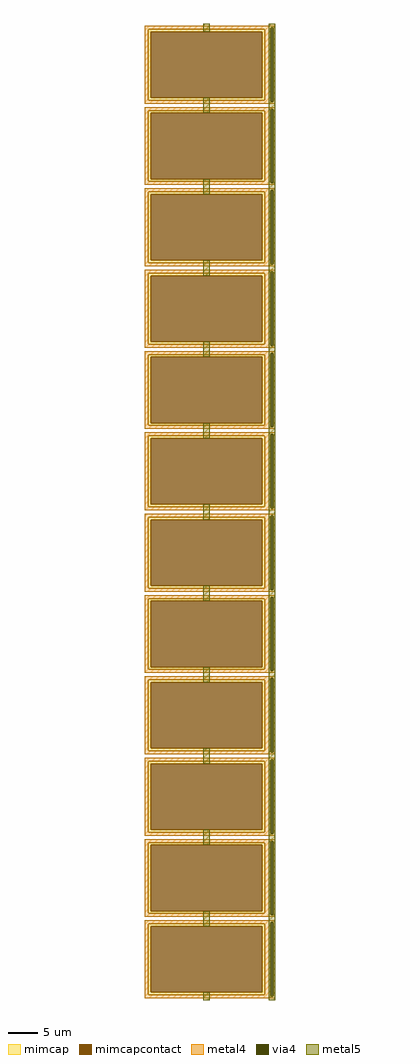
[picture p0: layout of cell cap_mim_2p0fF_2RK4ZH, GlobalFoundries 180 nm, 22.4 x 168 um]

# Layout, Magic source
magic
tech gf180mcuD
magscale 1 10
<< mimcap >>
rect -2120 16540 1880 16620
rect -2120 14260 -2040 16540
rect 1800 14260 1880 16540
rect -2120 14180 1880 14260
rect -2120 13740 1880 13820
rect -2120 11460 -2040 13740
rect 1800 11460 1880 13740
rect -2120 11380 1880 11460
rect -2120 10940 1880 11020
rect -2120 8660 -2040 10940
rect 1800 8660 1880 10940
rect -2120 8580 1880 8660
rect -2120 8140 1880 8220
rect -2120 5860 -2040 8140
rect 1800 5860 1880 8140
rect -2120 5780 1880 5860
rect -2120 5340 1880 5420
rect -2120 3060 -2040 5340
rect 1800 3060 1880 5340
rect -2120 2980 1880 3060
rect -2120 2540 1880 2620
rect -2120 260 -2040 2540
rect 1800 260 1880 2540
rect -2120 180 1880 260
rect -2120 -260 1880 -180
rect -2120 -2540 -2040 -260
rect 1800 -2540 1880 -260
rect -2120 -2620 1880 -2540
rect -2120 -3060 1880 -2980
rect -2120 -5340 -2040 -3060
rect 1800 -5340 1880 -3060
rect -2120 -5420 1880 -5340
rect -2120 -5860 1880 -5780
rect -2120 -8140 -2040 -5860
rect 1800 -8140 1880 -5860
rect -2120 -8220 1880 -8140
rect -2120 -8660 1880 -8580
rect -2120 -10940 -2040 -8660
rect 1800 -10940 1880 -8660
rect -2120 -11020 1880 -10940
rect -2120 -11460 1880 -11380
rect -2120 -13740 -2040 -11460
rect 1800 -13740 1880 -11460
rect -2120 -13820 1880 -13740
rect -2120 -14260 1880 -14180
rect -2120 -16540 -2040 -14260
rect 1800 -16540 1880 -14260
rect -2120 -16620 1880 -16540
<< mimcapcontact >>
rect -2040 14260 1800 16540
rect -2040 11460 1800 13740
rect -2040 8660 1800 10940
rect -2040 5860 1800 8140
rect -2040 3060 1800 5340
rect -2040 260 1800 2540
rect -2040 -2540 1800 -260
rect -2040 -5340 1800 -3060
rect -2040 -8140 1800 -5860
rect -2040 -10940 1800 -8660
rect -2040 -13740 1800 -11460
rect -2040 -16540 1800 -14260
<< metal4 >>
rect -2240 16673 2240 16740
rect -2240 16620 2090 16673
rect -2240 14180 -2120 16620
rect 1880 14180 2090 16620
rect -2240 14127 2090 14180
rect 2178 14127 2240 16673
rect -2240 14060 2240 14127
rect -2240 13873 2240 13940
rect -2240 13820 2090 13873
rect -2240 11380 -2120 13820
rect 1880 11380 2090 13820
rect -2240 11327 2090 11380
rect 2178 11327 2240 13873
rect -2240 11260 2240 11327
rect -2240 11073 2240 11140
rect -2240 11020 2090 11073
rect -2240 8580 -2120 11020
rect 1880 8580 2090 11020
rect -2240 8527 2090 8580
rect 2178 8527 2240 11073
rect -2240 8460 2240 8527
rect -2240 8273 2240 8340
rect -2240 8220 2090 8273
rect -2240 5780 -2120 8220
rect 1880 5780 2090 8220
rect -2240 5727 2090 5780
rect 2178 5727 2240 8273
rect -2240 5660 2240 5727
rect -2240 5473 2240 5540
rect -2240 5420 2090 5473
rect -2240 2980 -2120 5420
rect 1880 2980 2090 5420
rect -2240 2927 2090 2980
rect 2178 2927 2240 5473
rect -2240 2860 2240 2927
rect -2240 2673 2240 2740
rect -2240 2620 2090 2673
rect -2240 180 -2120 2620
rect 1880 180 2090 2620
rect -2240 127 2090 180
rect 2178 127 2240 2673
rect -2240 60 2240 127
rect -2240 -127 2240 -60
rect -2240 -180 2090 -127
rect -2240 -2620 -2120 -180
rect 1880 -2620 2090 -180
rect -2240 -2673 2090 -2620
rect 2178 -2673 2240 -127
rect -2240 -2740 2240 -2673
rect -2240 -2927 2240 -2860
rect -2240 -2980 2090 -2927
rect -2240 -5420 -2120 -2980
rect 1880 -5420 2090 -2980
rect -2240 -5473 2090 -5420
rect 2178 -5473 2240 -2927
rect -2240 -5540 2240 -5473
rect -2240 -5727 2240 -5660
rect -2240 -5780 2090 -5727
rect -2240 -8220 -2120 -5780
rect 1880 -8220 2090 -5780
rect -2240 -8273 2090 -8220
rect 2178 -8273 2240 -5727
rect -2240 -8340 2240 -8273
rect -2240 -8527 2240 -8460
rect -2240 -8580 2090 -8527
rect -2240 -11020 -2120 -8580
rect 1880 -11020 2090 -8580
rect -2240 -11073 2090 -11020
rect 2178 -11073 2240 -8527
rect -2240 -11140 2240 -11073
rect -2240 -11327 2240 -11260
rect -2240 -11380 2090 -11327
rect -2240 -13820 -2120 -11380
rect 1880 -13820 2090 -11380
rect -2240 -13873 2090 -13820
rect 2178 -13873 2240 -11327
rect -2240 -13940 2240 -13873
rect -2240 -14127 2240 -14060
rect -2240 -14180 2090 -14127
rect -2240 -16620 -2120 -14180
rect 1880 -16620 2090 -14180
rect -2240 -16673 2090 -16620
rect 2178 -16673 2240 -14127
rect -2240 -16740 2240 -16673
<< via4 >>
rect 2090 14127 2178 16673
rect 2090 11327 2178 13873
rect 2090 8527 2178 11073
rect 2090 5727 2178 8273
rect 2090 2927 2178 5473
rect 2090 127 2178 2673
rect 2090 -2673 2178 -127
rect 2090 -5473 2178 -2927
rect 2090 -8273 2178 -5727
rect 2090 -11073 2178 -8527
rect 2090 -13873 2178 -11327
rect 2090 -16673 2178 -14127
<< metal5 >>
rect -226 16540 -14 16800
rect 2028 16673 2240 16800
rect -226 13740 -14 14260
rect 2028 14127 2090 16673
rect 2178 14127 2240 16673
rect 2028 13873 2240 14127
rect -226 10940 -14 11460
rect 2028 11327 2090 13873
rect 2178 11327 2240 13873
rect 2028 11073 2240 11327
rect -226 8140 -14 8660
rect 2028 8527 2090 11073
rect 2178 8527 2240 11073
rect 2028 8273 2240 8527
rect -226 5340 -14 5860
rect 2028 5727 2090 8273
rect 2178 5727 2240 8273
rect 2028 5473 2240 5727
rect -226 2540 -14 3060
rect 2028 2927 2090 5473
rect 2178 2927 2240 5473
rect 2028 2673 2240 2927
rect -226 -260 -14 260
rect 2028 127 2090 2673
rect 2178 127 2240 2673
rect 2028 -127 2240 127
rect -226 -3060 -14 -2540
rect 2028 -2673 2090 -127
rect 2178 -2673 2240 -127
rect 2028 -2927 2240 -2673
rect -226 -5860 -14 -5340
rect 2028 -5473 2090 -2927
rect 2178 -5473 2240 -2927
rect 2028 -5727 2240 -5473
rect -226 -8660 -14 -8140
rect 2028 -8273 2090 -5727
rect 2178 -8273 2240 -5727
rect 2028 -8527 2240 -8273
rect -226 -11460 -14 -10940
rect 2028 -11073 2090 -8527
rect 2178 -11073 2240 -8527
rect 2028 -11327 2240 -11073
rect -226 -14260 -14 -13740
rect 2028 -13873 2090 -11327
rect 2178 -13873 2240 -11327
rect 2028 -14127 2240 -13873
rect -226 -16800 -14 -16540
rect 2028 -16673 2090 -14127
rect 2178 -16673 2240 -14127
rect 2028 -16800 2240 -16673
<< properties >>
string FIXED_BBOX -2240 14060 2000 16740
string gencell cap_mim_2p0fF
string library gf180mcu
string parameters w 20.0 l 12.2 val 7.388k carea 25.00 cperi 20.00 class capacitor nx 1 ny 12 dummy 0 square 0 lmin 5.00 wmin 5.00 lmax 100.0 wmax 100.0 dc 0 bconnect 1 tconnect 1
<< end >>
